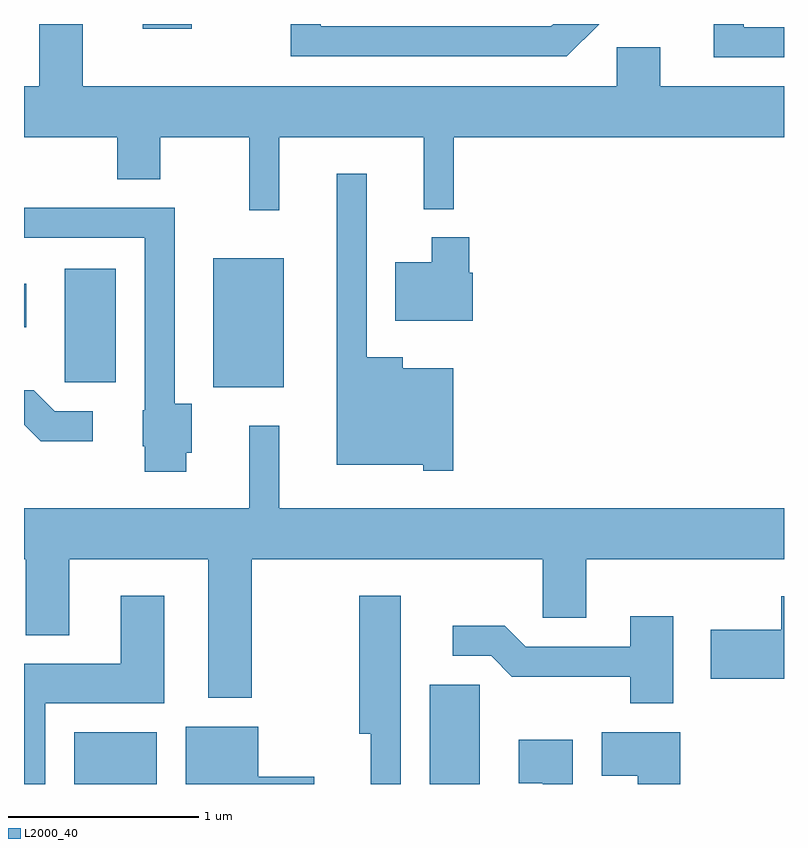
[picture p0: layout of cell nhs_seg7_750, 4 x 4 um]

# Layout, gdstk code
import gdstk
lib = gdstk.Library(unit=1e-6, precision=1e-09)
def R(c, l, rs):  # rectangles x0, y0, x1, y1
    for r in rs: c.add(gdstk.rectangle(r[:2], r[2:], *l))
def P(c, l, *ps):  # polygons
    for p in ps: c.add(gdstk.Polygon(p, *l))
L2000_40 = (2000, 40)

nhs_seg7_750 = lib.new_cell('nhs_seg7_750')
R(nhs_seg7_750, L2000_40, [(207.876,1704.252,208.309,1704.524), (209.746,1704.252,210.009,1704.774), (208.606,1706.341,208.979,1707.019), (207.826,1706.366,208.094,1706.964), (207.611,1706.656,207.624,1706.884), (208.236,1708.226,208.494,1708.252)])
P(nhs_seg7_750, L2000_40, [(208.954,1707.656),(209.716,1707.656),(209.716,1707.278),(209.874,1707.278),(209.874,1707.656),(211.611,1707.656),(211.611,1707.924),(210.959,1707.924),(210.959,1708.129),(210.731,1708.129),(210.731,1707.924),(207.919,1707.924),(207.919,1708.252),(207.691,1708.252),(207.691,1707.924),(207.611,1707.924),(207.611,1707.656),(208.101,1707.656),(208.101,1707.436),(208.329,1707.436),(208.329,1707.656),(208.796,1707.656),(208.796,1707.273),(208.954,1707.273)],
  [(211.611,1708.234),(211.399,1708.234),(211.399,1708.252),(211.241,1708.252),(211.241,1708.076),(211.611,1708.076)],
  [(210.638,1708.252),(210.397,1708.252),(210.384,1708.239),(209.174,1708.239),(209.174,1708.252),(209.016,1708.252),(209.016,1708.081),(210.467,1708.081)],
  [(209.869,1706.439),(209.604,1706.439),(209.604,1706.499),(209.414,1706.499),(209.414,1707.463),(209.256,1707.463),(209.256,1705.931),(209.711,1705.931),(209.711,1705.901),(209.869,1705.901)],
  [(208.464,1705.996),(208.494,1705.996),(208.494,1706.254),(208.404,1706.254),(208.404,1707.284),(207.611,1707.284),(207.611,1707.126),(208.246,1707.126),(208.246,1706.22),(208.236,1706.22),(208.236,1706.03),(208.246,1706.03),(208.246,1705.896),(208.464,1705.896)],
  [(209.974,1706.944),(209.954,1706.944),(209.954,1707.129),(209.756,1707.129),(209.756,1706.999),(209.566,1706.999),(209.566,1706.691),(209.974,1706.691)],
  [(207.973,1706.214),(207.772,1706.214),(207.662,1706.324),(207.611,1706.324),(207.611,1706.144),(207.699,1706.056),(207.973,1706.056)],
  [(208.809,1705.436),(210.341,1705.436),(210.341,1705.126),(210.569,1705.126),(210.569,1705.436),(211.611,1705.436),(211.611,1705.704),(208.954,1705.704),(208.954,1706.138),(208.796,1706.138),(208.796,1705.704),(207.611,1705.704),(207.611,1705.436),(207.621,1705.436),(207.621,1705.036),(207.849,1705.036),(207.849,1705.436),(208.581,1705.436),(208.581,1704.706),(208.809,1704.706)],
  [(207.724,1704.676),(208.349,1704.676),(208.349,1705.244),(208.121,1705.244),(208.121,1704.884),(207.611,1704.884),(207.611,1704.252),(207.724,1704.252)],
  [(209.594,1705.244),(209.376,1705.244),(209.376,1704.516),(209.436,1704.516),(209.436,1704.252),(209.594,1704.252)],
  [(211.611,1705.239),(211.596,1705.239),(211.596,1705.064),(211.226,1705.064),(211.226,1704.806),(211.611,1704.806)],
  [(211.029,1705.134),(210.801,1705.134),(210.801,1704.974),(210.252,1704.974),(210.142,1705.084),(209.868,1705.084),(209.868,1704.926),(210.069,1704.926),(210.179,1704.816),(210.801,1704.816),(210.801,1704.676),(211.029,1704.676)],
  [(209.139,1704.289),(208.844,1704.289),(208.844,1704.554),(208.461,1704.554),(208.461,1704.252),(209.139,1704.252)],
  [(211.064,1704.524),(210.651,1704.524),(210.651,1704.296),(210.841,1704.296),(210.841,1704.252),(211.064,1704.252)],
  [(210.499,1704.484),(210.216,1704.484),(210.216,1704.256),(210.341,1704.256),(210.341,1704.252),(210.499,1704.252)])

lib.write_gds('nhs_seg7_750.gds')
